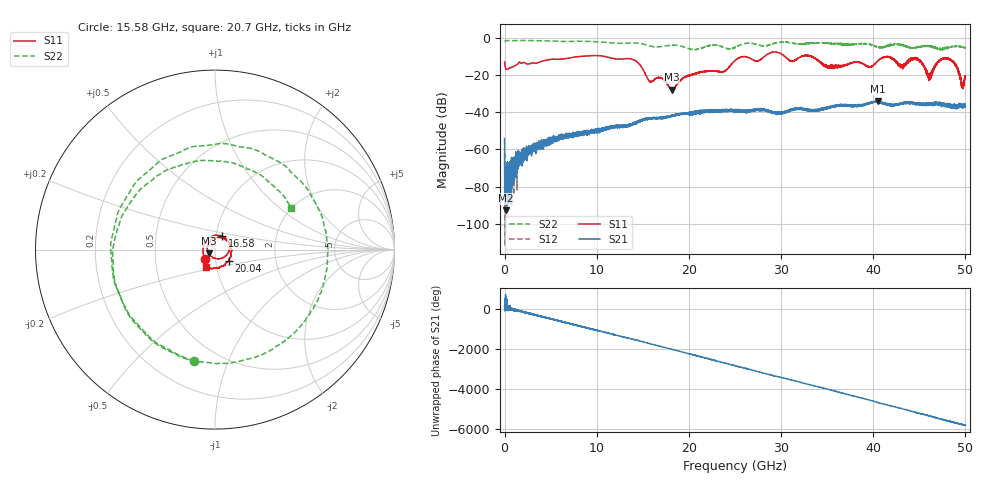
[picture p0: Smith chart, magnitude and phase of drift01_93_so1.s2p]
!Created with skrf (http://scikit-rf.org).
# Hz S RI R 50.0
!freq ReS11 ImS11 ReS21 ImS21 ReS12 ImS12 ReS22 ImS22
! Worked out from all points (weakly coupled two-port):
!   10001 points, 300 kHz to 50 GHz, reference 50 ohm
!   highest |S21| = -33.96 dB at 40.52 GHz (marker M1); lowest = -92.7 dB at 180.3 MHz (marker M2)
!   lowest |S11| = -27.9 dB at 18.15 GHz (marker M3), VSWR 1.08, Z = 46.7 - j2.01 ohm
!   |S11| at or under -10 dB: 10.9 GHz to 25.99 GHz (15.09 GHz wide, 81.8 % of centre); 33.37 GHz to 41.59 GHz (8.227 GHz wide, 22 % of centre); 41.62 GHz to end of sweep (the widest 3 of 16)
!   |S22| runs from -6.6 to -1.4 dB; largest |S21 - S12| = 0.0037
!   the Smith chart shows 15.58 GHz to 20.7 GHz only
!   S11 on the Smith chart (normalised r, x): 15.58 GHz: 0.89, -0.10; 16.58 GHz: 1.07, +0.16; 20.04 GHz: 1.15, -0.15; 20.7 GHz: 0.88, -0.17
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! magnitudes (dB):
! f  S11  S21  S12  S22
! 300 kHz  -13.0  -54.2  -62.1  -2.1
! 180.3 MHz  -16.9  -92.7  -85.2  -1.4
! 2.89 GHz  -13.6  -59.2  -60.4  -1.4
! 8.335 GHz  -9.9  -51.2  -51.0  -1.8
! 13.88 GHz  -11.5  -46.5  -46.5  -2.7
! 15.58 GHz  -22.3  -43.2  -43.2  -4.0
! 16.58 GHz  -21.4  -43.0  -43.0  -4.7
! 16.67 GHz  -21.3  -43.1  -42.8  -4.8
! 18.15 GHz  -27.9  -41.9  -42.0  -3.9
! 20.04 GHz  -20.0  -41.1  -40.8  -5.9
! 20.7 GHz  -19.2  -39.9  -39.6  -6.3
! 25 GHz  -12.2  -38.9  -38.9  -5.1
! 33.34 GHz  -10.1  -38.9  -38.8  -2.7
! 35.25 GHz  -15.2  -37.3  -37.5  -2.9
! 40.52 GHz  -12.5  -34.0  -34.3  -5.1
! 41.67 GHz  -10.4  -36.1  -36.1  -4.4
! 43.07 GHz  -15.5  -35.7  -35.3  -3.5
! 44.8 GHz  -11.5  -35.4  -35.6  -4.8
! 46.11 GHz  -21.8  -35.4  -35.4  -4.6
! 48.09 GHz  -11.2  -36.3  -36.3  -5.0
! 49.64 GHz  -24.0  -37.2  -37.2  -4.7
! 50 GHz  -21.1  -36.9  -36.8  -5.4
